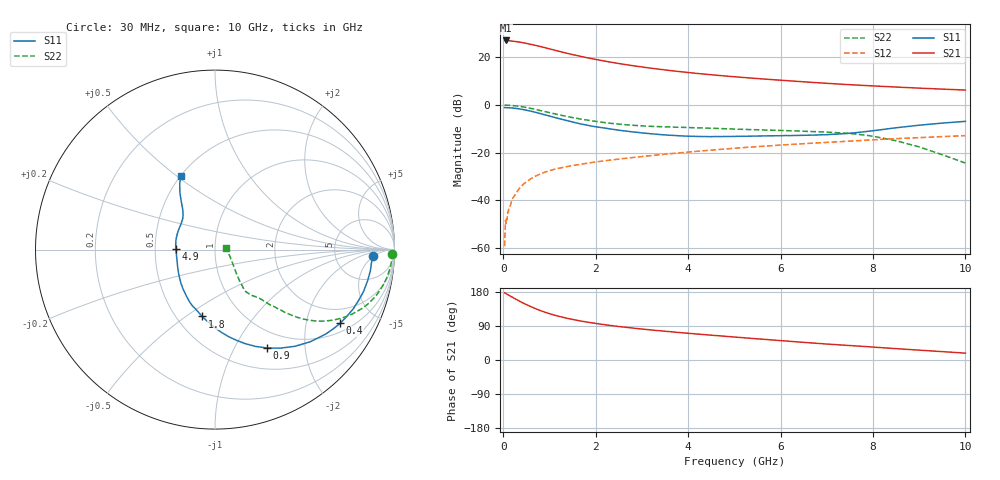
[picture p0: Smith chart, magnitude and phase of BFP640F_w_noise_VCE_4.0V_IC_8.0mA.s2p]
! Infineon Technologies  Discrete & RF Semiconductors
! BFP640F
! VCE =  4.0 V,  IC =  8.0 mA
! Common Emitter S-Parameters:  Apr 2013
# GHz  S  MA  R  50
!  f  S11  S21  S12  S22
! GHz  MAG  ANG  MAG  ANG  MAG  ANG  MAG  ANG
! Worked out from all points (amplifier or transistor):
!   99 points, 30 MHz to 10 GHz, reference 50 ohm
!   highest |S21| = 27.0 dB at 50 MHz (marker M1)
!   |S21| within 3 dB of that: start of sweep to 900.2 MHz
!   unconditionally stable (mu >= 1): 3.353 GHz to end of sweep
!   at 350 MHz: K = 0.17, MSG = 30.6 dB, |S12| = -34.9 dB
!   at 3.5 GHz: K = 1.01, MAG = 17.0 dB, |S12| = -20.6 dB
!   at 10 GHz: K = 1.08, MAG = 7.8 dB, |S12| = -12.9 dB
!   lowest NFmin = 0.59 dB at 450 MHz
!   S11 on the Smith chart (normalised r, x): 30 MHz: 14, -4; 400 MHz: 1.32, -3.16; 900 MHz: 0.77, -1.36; 1.8 GHz: 0.67, -0.58; 4.9 GHz: 0.64, +0.00; 10 GHz: 0.50, +0.52
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0.03  0.8785 -2.3  22.1 177.4  0.0011 73.4  0.986 -1.3
0.05  0.8772 -3.9  22.37 176.1  0.0038 78.0  0.9888 -2.2
0.13  0.8693 -10.2  22.07 170.3  0.007 83.1  0.9799 -6.1
0.25  0.8492 -19.3  21.36 162.0  0.0128 79.0  0.9586 -11.7
0.4  0.8094 -30.5  20.31 152.3  0.0202 74.1  0.9163 -18.1
0.5  0.7761 -37.3  19.41 146.3  0.0244 72.1  0.8815 -21.9
0.6  0.7389 -44.0  18.52 140.7  0.0286 69.5  0.8433 -25.3
0.8  0.6585 -56.5  16.74 130.5  0.0358 65.4  0.764 -31.0
0.9  0.6201 -62.1  15.84 126.2  0.039 63.5  0.7255 -33.3
1.1  0.5497 -72.3  14.11 118.6  0.0446 60.7  0.6549 -36.9
1.3  0.4904 -81.2  12.58 112.4  0.0493 58.7  0.5929 -39.5
1.5  0.4389 -89.4  11.32 107.1  0.0537 57.3  0.5424 -41.2
1.7  0.3957 -97.3  10.28 102.4  0.0576 56.2  0.5006 -42.5
1.8  0.3792 -100.9  9.795 100.4  0.0597 55.8  0.4833 -43.2
2.1  0.3375 -111.9  8.609 94.7  0.0658 54.7  0.4377 -45.0
2.5  0.295 -124.3  7.368 88.4  0.0734 53.8  0.3967 -46.4
3.4  0.2388 -148.7  5.554 77.0  0.0907 51.8  0.35 -49.0
4.9  0.2183 179.1  3.961 61.6  0.1212 47.7  0.3142 -52.1
5.1  0.2198 175.3  3.819 59.7  0.1255 47.1  0.3095 -52.5
6.7  0.2335 147.3  2.958 44.8  0.158 40.7  0.2763 -54.1
8.5  0.3319 124.7  2.366 30.0  0.1964 32.7  0.1778 -48.0
10  0.4523 115.0  2.046 18.1  0.2274 25.2  0.0606 10.6
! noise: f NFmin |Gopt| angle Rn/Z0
0.45  0.59  0.27  8  0.06
0.9  0.59  0.26  20  0.07
1.5  0.62  0.25  28  0.08
1.9  0.63  0.23  41  0.09
2.4  0.67  0.2  55  0.09
3.5  0.76  0.17  82  0.11
5.5  0.97  0.15  168  0.14
10  1.57  0.41  -101  0.33
